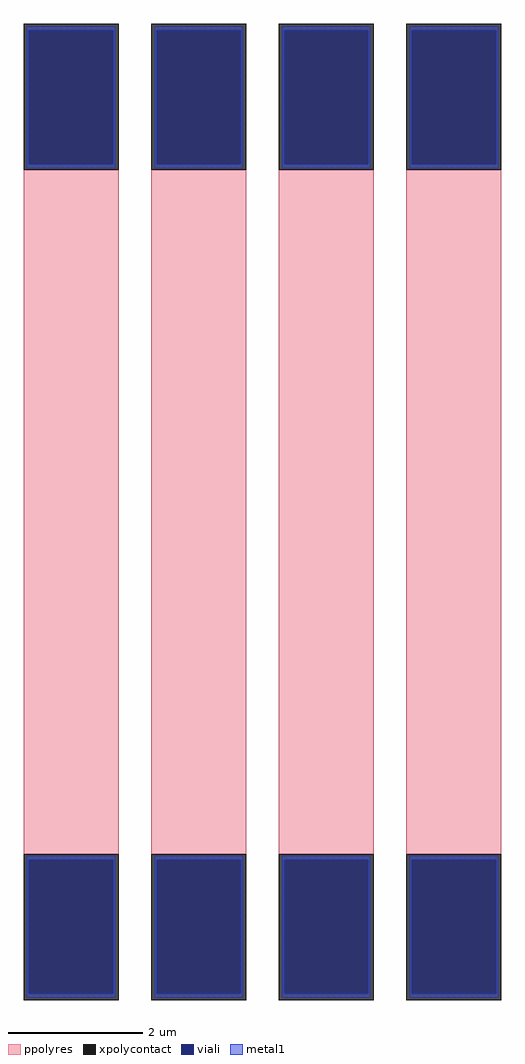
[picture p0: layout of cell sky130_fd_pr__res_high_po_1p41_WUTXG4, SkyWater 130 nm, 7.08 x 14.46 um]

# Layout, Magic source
magic
tech sky130A
magscale 1 2
<< xpolycontact >>
rect -708 1014 -426 1446
rect -708 -1446 -426 -1014
rect -330 1014 -48 1446
rect -330 -1446 -48 -1014
rect 48 1014 330 1446
rect 48 -1446 330 -1014
rect 426 1014 708 1446
rect 426 -1446 708 -1014
<< ppolyres >>
rect -708 -1014 -426 1014
rect -330 -1014 -48 1014
rect 48 -1014 330 1014
rect 426 -1014 708 1014
<< viali >>
rect -692 1031 -442 1428
rect -314 1031 -64 1428
rect 64 1031 314 1428
rect 442 1031 692 1428
rect -692 -1428 -442 -1031
rect -314 -1428 -64 -1031
rect 64 -1428 314 -1031
rect 442 -1428 692 -1031
<< metal1 >>
rect -698 1428 -436 1440
rect -698 1031 -692 1428
rect -442 1031 -436 1428
rect -698 1019 -436 1031
rect -320 1428 -58 1440
rect -320 1031 -314 1428
rect -64 1031 -58 1428
rect -320 1019 -58 1031
rect 58 1428 320 1440
rect 58 1031 64 1428
rect 314 1031 320 1428
rect 58 1019 320 1031
rect 436 1428 698 1440
rect 436 1031 442 1428
rect 692 1031 698 1428
rect 436 1019 698 1031
rect -698 -1031 -436 -1019
rect -698 -1428 -692 -1031
rect -442 -1428 -436 -1031
rect -698 -1440 -436 -1428
rect -320 -1031 -58 -1019
rect -320 -1428 -314 -1031
rect -64 -1428 -58 -1031
rect -320 -1440 -58 -1428
rect 58 -1031 320 -1019
rect 58 -1428 64 -1031
rect 314 -1428 320 -1031
rect 58 -1440 320 -1428
rect 436 -1031 698 -1019
rect 436 -1428 442 -1031
rect 692 -1428 698 -1031
rect 436 -1440 698 -1428
<< properties >>
string gencell sky130_fd_pr__res_high_po_1p41
string library sky130
string parameters w 1.410 l 10.3 m 1 nx 4 wmin 1.410 lmin 0.50 rho 319.8 val 2.612k dummy 0 dw 0.0 term 194.82 sterm 0.0 caplen 0 guard 0 glc 0 grc 0 gtc 0 gbc 0 compatible {sky130_fd_pr__res_high_po_0p35  sky130_fd_pr__res_high_po_0p69 sky130_fd_pr__res_high_po_1p41  sky130_fd_pr__res_high_po_2p85 sky130_fd_pr__res_high_po_5p73} snake 0 full_metal 0 wmax 1.410 n_guard 0 hv_guard 0 vias 1 viagb 0 viagt 0 viagl 0 viagr 0
<< end >>
